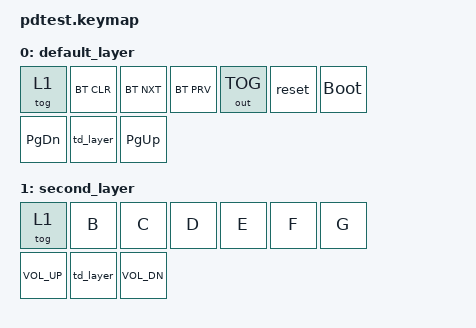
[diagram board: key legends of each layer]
/*
 * Copyright (c) 2020 The ZMK Contributors
 *
 * SPDX-License-Identifier: MIT
 */

#include <behaviors.dtsi>
#include <dt-bindings/zmk/keys.h>
#include <dt-bindings/zmk/bt.h>
#include <dt-bindings/zmk/outputs.h>
#include <dt-bindings/zmk/backlight.h>


/{
    behaviors {
      cmqus: comma_question {
        compatible = "zmk,behavior-mod-morph";
        label = "COMMA_QUESTION";
        #binding-cells = <0>;
        bindings = <&kp COMMA>, <&kp QUESTION>;
        mods = <(MOD_LSFT|MOD_RSFT)>;
      };

      dtsmi: dot_semi {
        compatible = "zmk,behavior-mod-morph";
        label = "DOT_SEMI";
        #binding-cells = <0>;
        bindings = <&kp DOT>, <&kp SEMI>;
        mods = <(MOD_LSFT|MOD_RSFT)>;
        masked_mods = <(MOD_LSFT|MOD_RSFT)>; // don't send shift
      };
    };

    macros {
    ZMK_MACRO(hello,
        wait-ms = <0>;
        tap-ms  = <10>;
        bindings = <&kp H &kp E &kp L &kp L &kp O>;
    )
    };

    // combos {
    //     compatible = "zmk,combos";
    //     combo_punc {
    //         timeout-ms = <50>;
    //         key-positions = <7 8>;
    //         bindings = <&cmqus>;
    //     };
        
    //      combo_lgui {
    //         timeout-ms = <50>;
    //         key-positions = <8 9>;
    //         bindings = <&kp LGUI>;
    //     };
        
    //      combo_fullscreen {
    //         timeout-ms = <50>;
    //         key-positions = <7 9>;
    //         bindings = <&kp F11>;
    //     };

    //      combo_macro {
    //         timeout-ms = <50>;
    //         key-positions = <7 8 9>;
    //         bindings = <&hello>;
    //     };
    // }; 

behaviors {
        td_reset: tap_dance_mod_tap {
            compatible = "zmk,behavior-tap-dance";
            label = "TAP_DANCE_MOD_TAP";
            #binding-cells = <0>;
            tapping-term-ms = <400>;
            bindings = <&reset>, <&bootloader>;
        };

        td_number: tap_dance_mod_tap {
            compatible = "zmk,behavior-tap-dance";
            label = "TAP_DANCE_NUMBER";
            #binding-cells = <0>;
            tapping-term-ms = <400>;
            bindings = <&kp B>, <&kp N1>;
        };

        td_layer: tap_layer_toggle {
            compatible = "zmk,behavior-tap-dance";
            label = "TAP_LAYER_TOGGLE";
            #binding-cells = <0>;
            tapping-term-ms = <400>;
            bindings = <&tog 1>, <&tog 0>;
        };
    };

    keymap {
      compatible = "zmk,keymap";
                
   		default_layer {
        		bindings = <
                &tog 1 &bt BT_CLR &bt BT_NXT &bt BT_PRV &out OUT_TOG &reset &bootloader 
                &kp PG_DN &td_layer &kp PG_UP
             		>;
            slider-bindings = <&slv>;
            trackball-bindings = <&tmv>;
		    };
   		second_layer {
        		bindings = <
            &tog 1 &kp B &kp C &kp D &kp E &kp F &kp G
                &kp C_VOL_UP &td_layer &kp C_VOL_DN
             		>;
            slider-bindings = <&skp2 LC(PLUS) LC(MINUS)>;
            trackball-bindings = <&tkp2 LC(LS(TAB)) LC(TAB) LG(PG_UP) LG(PG_DN)>;
		    };
    };  
};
